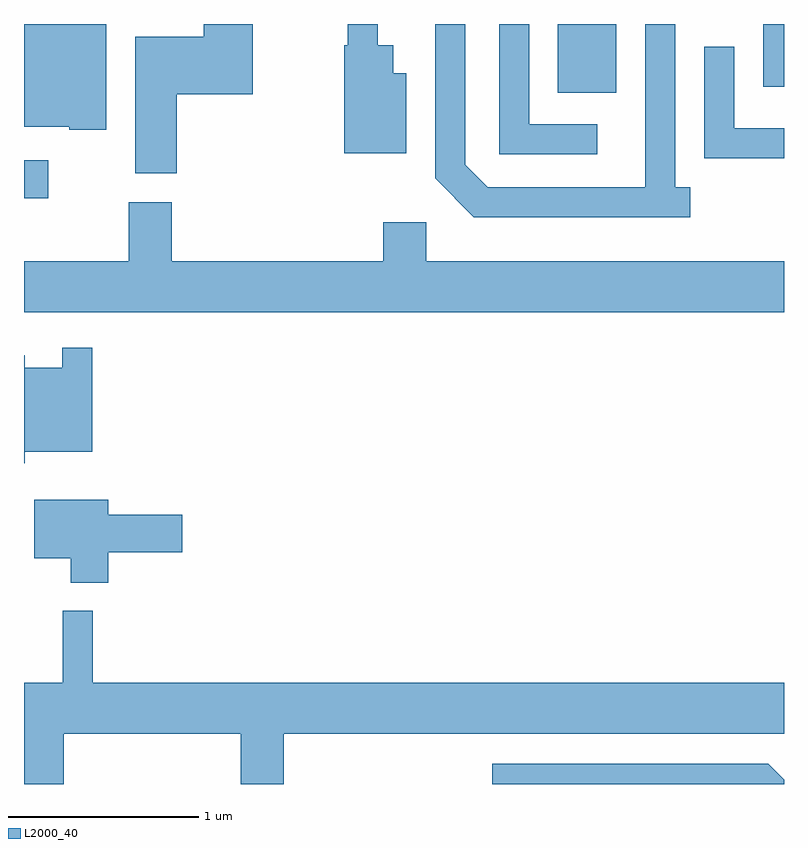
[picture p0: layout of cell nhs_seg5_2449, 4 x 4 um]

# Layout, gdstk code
import gdstk
lib = gdstk.Library(unit=1e-6, precision=1e-09)
def R(c, l, rs):  # rectangles x0, y0, x1, y1
    for r in rs: c.add(gdstk.rectangle(r[:2], r[2:], *l))
def P(c, l, *ps):  # polygons
    for p in ps: c.add(gdstk.Polygon(p, *l))
L2000_40 = (2000, 40)

nhs_seg5_2449 = lib.new_cell('nhs_seg5_2449')
R(nhs_seg5_2449, L2000_40, [(257.611,1475.156,257.739,1475.354), (260.421,1475.711,260.729,1476.072), (261.501,1475.741,261.611,1476.072)])
P(nhs_seg5_2449, L2000_40, [(259.624,1475.814),(259.554,1475.814),(259.554,1475.959),(259.474,1475.959),(259.474,1476.072),(259.316,1476.072),(259.316,1475.959),(259.296,1475.959),(259.296,1475.391),(259.624,1475.391)],
  [(261.118,1475.214),(261.039,1475.214),(261.039,1476.072),(260.881,1476.072),(260.881,1475.214),(260.052,1475.214),(259.934,1475.332),(259.934,1476.072),(259.776,1476.072),(259.776,1475.259),(259.979,1475.056),(261.118,1475.056)],
  [(258.414,1475.701),(258.814,1475.701),(258.814,1476.072),(258.556,1476.072),(258.556,1476.004),(258.196,1476.004),(258.196,1475.286),(258.414,1475.286)],
  [(260.628,1475.544),(260.269,1475.544),(260.269,1476.072),(260.111,1476.072),(260.111,1475.386),(260.628,1475.386)],
  [(258.044,1476.072),(257.611,1476.072),(257.611,1475.531),(257.85,1475.531),(257.85,1475.516),(258.044,1475.516)],
  [(261.611,1475.524),(261.349,1475.524),(261.349,1475.953),(261.191,1475.953),(261.191,1475.366),(261.611,1475.366)],
  [(261.611,1474.824),(259.729,1474.824),(259.729,1475.029),(259.501,1475.029),(259.501,1474.824),(258.389,1474.824),(258.389,1475.134),(258.161,1475.134),(258.161,1474.824),(257.611,1474.824),(257.611,1474.556),(261.611,1474.556)],
  [(257.614,1473.821),(257.969,1473.821),(257.969,1474.368),(257.811,1474.368),(257.811,1474.264),(257.614,1474.264),(257.614,1474.329),(257.611,1474.329),(257.611,1473.761),(257.614,1473.761)],
  [(258.054,1473.291),(258.444,1473.291),(258.444,1473.489),(258.054,1473.489),(258.054,1473.569),(257.666,1473.569),(257.666,1473.261),(257.856,1473.261),(257.856,1473.131),(258.054,1473.131)],
  [(257.819,1472.336),(258.751,1472.336),(258.751,1472.072),(258.979,1472.072),(258.979,1472.336),(261.611,1472.336),(261.611,1472.604),(257.974,1472.604),(257.974,1472.983),(257.816,1472.983),(257.816,1472.604),(257.611,1472.604),(257.611,1472.072),(257.819,1472.072)],
  [(261.611,1472.095),(261.527,1472.179),(260.076,1472.179),(260.076,1472.072),(261.611,1472.072)])

lib.write_gds('nhs_seg5_2449.gds')
